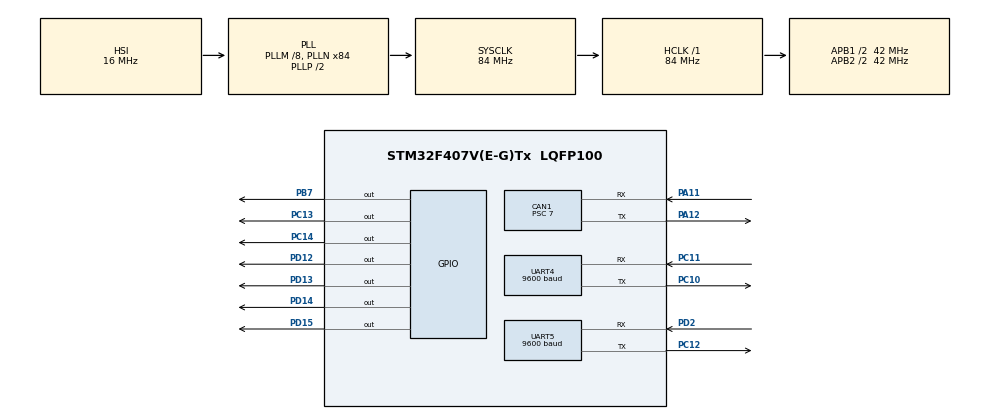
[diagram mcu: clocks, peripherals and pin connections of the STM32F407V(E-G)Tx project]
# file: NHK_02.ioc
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CAN1.BS1=CAN_BS1_3TQ
CAN1.BS2=CAN_BS2_2TQ
CAN1.CalculateTimeQuantum=166.66666666666669
CAN1.Prescaler=7
Mcu.Family=STM32F4
Mcu.Name=STM32F407V(E-G)Tx
Mcu.Package=LQFP100
NVIC.CAN1_RX0_IRQn=true\:7\:0\:true\:false\:true\:true\:true
NVIC.PriorityGroup=NVIC_PRIORITYGROUP_4
NVIC.TIM4_IRQn=true\:0\:0\:false\:false\:true\:true\:true
NVIC.TIM6_DAC_IRQn=true\:0\:0\:false\:false\:true\:true\:true
NVIC.TIM7_IRQn=true\:0\:0\:false\:false\:true\:true\:true
NVIC.UART4_IRQn=true\:0\:0\:false\:false\:true\:true\:true
NVIC.UART5_IRQn=true\:0\:0\:false\:false\:true\:true\:true
PA11.Mode=Master
PA11.Signal=CAN1_RX
PA12.Mode=Master
PA12.Signal=CAN1_TX
PA13.Mode=Serial_Wire
PA13.Signal=SYS_JTMS-SWDIO
PA14.Mode=Serial_Wire
PA14.Signal=SYS_JTCK-SWCLK
PB7.Signal=GPIO_Output
PC10.Mode=Asynchronous
PC10.Signal=UART4_TX
PC11.Mode=Asynchronous
PC11.Signal=UART4_RX
PC12.Mode=Asynchronous
PC12.Signal=UART5_TX
PC13-ANTI_TAMP.Signal=GPIO_Output
PC14-OSC32_IN.Signal=GPIO_Output
PD12.Signal=GPIO_Output
PD13.Signal=GPIO_Output
PD14.Signal=GPIO_Output
PD15.Signal=GPIO_Output
PD2.Mode=Asynchronous
PD2.Signal=UART5_RX
ProjectManager.HeapSize=0x200
ProjectManager.StackSize=0x400
ProjectManager.TargetToolchain=SW4STM32
RCC.48MHZClocksFreq_Value=42000000
RCC.AHBFreq_Value=84000000
RCC.APB1CLKDivider=RCC_HCLK_DIV2
RCC.APB1Freq_Value=42000000
RCC.APB1TimFreq_Value=84000000
RCC.APB2CLKDivider=RCC_HCLK_DIV2
RCC.APB2Freq_Value=42000000
RCC.APB2TimFreq_Value=84000000
RCC.CortexFreq_Value=84000000
RCC.HCLKFreq_Value=84000000
RCC.HSE_VALUE=25000000
RCC.HSI_VALUE=16000000
RCC.LSE_VALUE=32768
RCC.PLLM=8
RCC.PLLN=84
RCC.SYSCLKFreq_VALUE=84000000
RCC.SYSCLKSource=RCC_SYSCLKSOURCE_PLLCLK
RCC.VCOOutputFreq_Value=168000000
TIM4.Period=168-1
TIM4.Prescaler=1000-1
TIM6.Period=840-1
TIM6.Prescaler=1000-1
TIM7.Period=500-1
TIM7.Prescaler=84-1
UART4.BaudRate=9600
UART4.VirtualMode=Asynchronous
UART5.BaudRate=9600
UART5.VirtualMode=Asynchronous
VP_TIM4_VS_ClockSourceINT.Mode=Internal
VP_TIM6_VS_ClockSourceINT.Mode=Enable_Timer
VP_TIM7_VS_ClockSourceINT.Mode=Enable_Timer
board=custom

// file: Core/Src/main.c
/* USER CODE BEGIN Header */
/**
  ******************************************************************************
  * @file           : main.c
  * @brief          : Main program body
  ******************************************************************************
  * @attention
  *
  * <h2><center>&copy; Copyright (c) 2020 STMicroelectronics.
  * All rights reserved.</center></h2>
  *
  * This software component is licensed by ST under BSD 3-Clause license,
  * the "License"; You may not use this file except in compliance with the
  * License. You may obtain a copy of the License at:
  *                        opensource.org/licenses/BSD-3-Clause
  *
  ******************************************************************************
  */
/* USER CODE END Header */
#include "main.h"
#include "can.h"
#include "tim.h"
#include "usart.h"
#include "gpio.h"

/* USER CODE BEGIN Includes */
#include "stm32f4_printf.h"
#include "ps3.h"
#include "canmd_controller.h"
#include "stm32f4_easy_can.h"
#include "math.h"
/* USER CODE END Includes */

/* USER CODE BEGIN PV */
//グロバル変数
 static uint8_t uart5_buf[8];
/* USER CODE END PV */

void SystemClock_Config(void);
/* USER CODE BEGIN PFP */
void canmd_status_set_data(int canmd_num,int motor_select,unsigned int DutyOrPid,int p_value,int i_value,int d_value);
/* USER CODE END PFP */

/* USER CODE BEGIN 0 */
int i=0; int x=0;
int id= 1;
int stop =0;
int mode =0;

int ST01,ST02,ST03,ST04=0;
/* USER CODE END 0 */

int main(void)
{

  /* MCU Configuration--------------------------------------------------------*/

  /* Reset of all peripherals, Initializes the Flash interface and the Systick. */
  HAL_Init();

  /* Configure the system clock */
  SystemClock_Config();

  /* Initialize all configured peripherals */
  MX_GPIO_Init();
  MX_CAN1_Init();
  MX_TIM6_Init();
  MX_TIM7_Init();
  MX_UART4_Init();
  MX_UART5_Init();
  MX_TIM4_Init();
  /* USER CODE BEGIN 2 */
  stm32f4_printf_init(&huart4);
  HAL_UART_Receive_IT(&huart5,uart5_buf,8);
  canmd_controller_init();
  ps3_init();
  stm32f4_easy_can_init(&hcan1,0,0b11111);
  canmd_controller_clear_all_encoder_count();

  HAL_Delay(500);
  //DCモータPID制御データ送信
  canmd_status_set_data(1,0,0,50,50,50);
  canmd_status_set_data(1,1,0,50,50,50);
  canmd_status_set_data(2,0,0,50,50,50);
  canmd_status_set_data(2,1,0,50,50,50);

  //タイマースタート
  HAL_TIM_Base_Start_IT(&htim6);
  HAL_TIM_Base_Start_IT(&htim7);
  HAL_TIM_Base_Start_IT(&htim4);

  /* USER CODE END 2 */

  /* Infinite loop */
  /* USER CODE BEGIN WHILE */
  while (1)
  {
		Ps3 ps3_data;
		ps3_get_data(&ps3_data);

		//GPIO出力制御
		if(ps3_data.up==1){
			HAL_GPIO_WritePin(GPIOD,GPIO_PIN_11,GPIO_PIN_SET);
		}
		if(ps3_data.down==1){
			HAL_GPIO_WritePin(GPIOD,GPIO_PIN_11,GPIO_PIN_RESET);
		}

		//コントローラ値確認
		stm32f4_printf("up=%d\n\r",ps3_data.up);
		stm32f4_printf("down=%d\n\r",ps3_data.down);

		/*
		int encoder[5][2];

		for (int md_id_i = 1; md_id_i <= 4; md_id_i++) {
		 canmd_controller_get_encoder_count(md_id_i, &encoder[md_id_i][0], &encoder[md_id_i][1]);
		}
		HAL_Delay(100);
		*/
    /* USER CODE END WHILE */

  }
}

void SystemClock_Config(void)
{
  RCC_OscInitTypeDef RCC_OscInitStruct = {0};
  RCC_ClkInitTypeDef RCC_ClkInitStruct = {0};

  /** Configure the main internal regulator output voltage
  */
  __HAL_RCC_PWR_CLK_ENABLE();
  __HAL_PWR_VOLTAGESCALING_CONFIG(PWR_REGULATOR_VOLTAGE_SCALE1);
  /** Initializes the RCC Oscillators according to the specified parameters
  * in the RCC_OscInitTypeDef structure.
  */
  RCC_OscInitStruct.OscillatorType = RCC_OSCILLATORTYPE_HSI;
  RCC_OscInitStruct.HSIState = RCC_HSI_ON;
  RCC_OscInitStruct.HSICalibrationValue = RCC_HSICALIBRATION_DEFAULT;
  RCC_OscInitStruct.PLL.PLLState = RCC_PLL_ON;
  RCC_OscInitStruct.PLL.PLLSource = RCC_PLLSOURCE_HSI;
  RCC_OscInitStruct.PLL.PLLM = 8;
  RCC_OscInitStruct.PLL.PLLN = 84;
  RCC_OscInitStruct.PLL.PLLP = RCC_PLLP_DIV2;
  RCC_OscInitStruct.PLL.PLLQ = 4;
  if (HAL_RCC_OscConfig(&RCC_OscInitStruct) != HAL_OK)
  {
    Error_Handler();
  }
  /** Initializes the CPU, AHB and APB buses clocks
  */
  RCC_ClkInitStruct.ClockType = RCC_CLOCKTYPE_HCLK|RCC_CLOCKTYPE_SYSCLK
                              |RCC_CLOCKTYPE_PCLK1|RCC_CLOCKTYPE_PCLK2;
  RCC_ClkInitStruct.SYSCLKSource = RCC_SYSCLKSOURCE_PLLCLK;
  RCC_ClkInitStruct.AHBCLKDivider = RCC_SYSCLK_DIV1;
  RCC_ClkInitStruct.APB1CLKDivider = RCC_HCLK_DIV2;
  RCC_ClkInitStruct.APB2CLKDivider = RCC_HCLK_DIV2;

  if (HAL_RCC_ClockConfig(&RCC_ClkInitStruct, FLASH_LATENCY_2) != HAL_OK)
  {
    Error_Handler();
  }
}

/* USER CODE BEGIN 4 */

//UART受信割り込み関数

void HAL_UART_RxCpltCallback(UART_HandleTypeDef *huart)
{
if(huart->Instance == huart5.Instance) {
 ps3_uart_interrupt_routine(uart5_buf,8);
 HAL_UART_Receive_IT(&huart5,uart5_buf,8);
 }
}

void canmd_status_set_data(int canmd_num,int motor_select,unsigned int DutyOrPid,int p_value,int i_value,int d_value)
{
	int id;
	int dlc = 4;
	unsigned char data[8];

	id = canmd_num;

	data[0] = ((motor_select << 6) & 0b11000000 ) | DutyOrPid;
	data[1] = p_value & 0XFF;
	data[2] = i_value & 0XFF;
	data[3] = d_value & 0XFF;

	HAL_Delay(100);

	stm32f4_easy_can_transmit_message(id, dlc, data);
}

void stm32f4_easy_can_interrupt_handler(void)
{
	int id;
	int dlc;
	unsigned char data[8];

	stm32f4_easy_can_get_receive_message(&id, &dlc, data);

	canmd_controller_set_can_receive_data(id, dlc,data);

}

void HAL_TIM_PeriodElapsedCallback(TIM_HandleTypeDef *htim)
{
	if(htim->Instance == TIM6)
		{

		//TIM6　メイン
			int motor_output[CANMD_MD_NUM+1][2]={};
			int id =1;

			Ps3 ps3_data;
			ps3_get_data(&ps3_data);

			int motor_output01=0;

			if(ps3_data.sankaku==1){
				motor_output01=500;
			}
			if(ps3_data.batsu==1){
				motor_output01=-500;
			}

			motor_output[1][0]=motor_output01;

			for(id = 1; id <(CANMD_MD_NUM + 1);id++){

				canmd_controller_set_motor_control_data(id,motor_output[id][0],motor_output[id][1]);
			}
		}
	if(htim->Instance == TIM7)//CAN通信
	{
		int id = 1;
		int dlc =3;
		unsigned char data[8];

		//送信データ生成
		canmd_controller_get_can_transmit_data(&id, &dlc, data);
		//CANデータ送信
		stm32f4_easy_can_transmit_message(id,dlc,data);

	}
	if(htim->Instance == TIM4)
	{
		Ps3 ps3_data;
		ps3_get_data(&ps3_data);

		if(ps3_data.left==1){
			if(ST01==1){
				HAL_GPIO_WritePin(GPIOD,GPIO_PIN_15,GPIO_PIN_RESET);
				HAL_GPIO_WritePin(GPIOD,GPIO_PIN_14,GPIO_PIN_SET);
				HAL_GPIO_WritePin(GPIOD,GPIO_PIN_13,GPIO_PIN_RESET);
				HAL_GPIO_WritePin(GPIOD,GPIO_PIN_12,GPIO_PIN_RESET);
				ST01=0;
				ST02=1;
			}
			else if(ST02==1){
				HAL_GPIO_WritePin(GPIOD,GPIO_PIN_15,GPIO_PIN_RESET);
				HAL_GPIO_WritePin(GPIOD,GPIO_PIN_14,GPIO_PIN_RESET);
				HAL_GPIO_WritePin(GPIOD,GPIO_PIN_13,GPIO_PIN_SET);
				HAL_GPIO_WritePin(GPIOD,GPIO_PIN_12,GPIO_PIN_RESET);
				ST02=0;
				ST03=1;
			}
			else if(ST03==1){
				HAL_GPIO_WritePin(GPIOD,GPIO_PIN_15,GPIO_PIN_RESET);
				HAL_GPIO_WritePin(GPIOD,GPIO_PIN_14,GPIO_PIN_RESET);
				HAL_GPIO_WritePin(GPIOD,GPIO_PIN_13,GPIO_PIN_RESET);
				HAL_GPIO_WritePin(GPIOD,GPIO_PIN_12,GPIO_PIN_SET);
				ST03=0;
				ST04=1;
			}
			else if(ST04==1){
				HAL_GPIO_WritePin(GPIOD,GPIO_PIN_15,GPIO_PIN_SET);
				HAL_GPIO_WritePin(GPIOD,GPIO_PIN_14,GPIO_PIN_RESET);
				HAL_GPIO_WritePin(GPIOD,GPIO_PIN_13,GPIO_PIN_RESET);
				HAL_GPIO_WritePin(GPIOD,GPIO_PIN_12,GPIO_PIN_RESET);
				ST04=0;
				ST01=1;
			}
			else if(ST01==0&&ST02==0&&ST03==0&&ST04==0){
				HAL_GPIO_WritePin(GPIOD,GPIO_PIN_15,GPIO_PIN_SET);
				HAL_GPIO_WritePin(GPIOD,GPIO_PIN_14,GPIO_PIN_RESET);
				HAL_GPIO_WritePin(GPIOD,GPIO_PIN_13,GPIO_PIN_RESET);
				HAL_GPIO_WritePin(GPIOD,GPIO_PIN_12,GPIO_PIN_RESET);
				ST01=1;
			}
		}
	}
}
/* USER CODE END 4 */

void Error_Handler(void)
{
}

/************************ (C) COPYRIGHT STMicroelectronics *****END OF FILE****/
